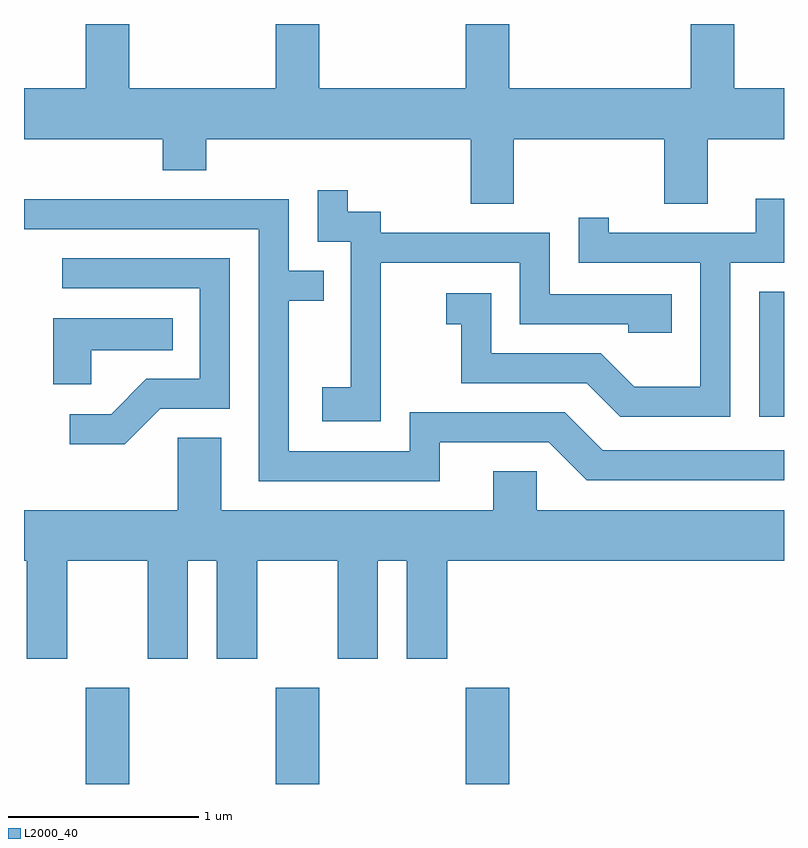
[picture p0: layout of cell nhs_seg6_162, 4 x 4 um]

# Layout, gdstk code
import gdstk
lib = gdstk.Library(unit=1e-6, precision=1e-09)
def R(c, l, rs):  # rectangles x0, y0, x1, y1
    for r in rs: c.add(gdstk.rectangle(r[:2], r[2:], *l))
def A(c, l, x, y, w, h, nx, ny, dx, dy):  # array of equal rectangles
    R(c, l, [(x+i*dx, y+j*dy, x+i*dx+w, y+j*dy+h) for i in range(nx) for j in range(ny)])
def P(c, l, *ps):  # polygons
    for p in ps: c.add(gdstk.Polygon(p, *l))
L2000_40 = (2000, 40)

nhs_seg6_162 = lib.new_cell('nhs_seg6_162')
A(nhs_seg6_162, L2000_40, 189.936, 1582.162, 0.228, 0.507, 3, 1, 1, 0)
R(nhs_seg6_162, L2000_40, [(193.481,1584.096,193.611,1584.754)])
P(nhs_seg6_162, L2000_40, [(192.189,1585.556),(192.981,1585.556),(192.981,1585.216),(193.209,1585.216),(193.209,1585.556),(193.611,1585.556),(193.611,1585.824),(193.349,1585.824),(193.349,1586.162),(193.121,1586.162),(193.121,1585.824),(192.164,1585.824),(192.164,1586.162),(191.936,1586.162),(191.936,1585.824),(191.164,1585.824),(191.164,1586.162),(190.936,1586.162),(190.936,1585.824),(190.164,1585.824),(190.164,1586.162),(189.936,1586.162),(189.936,1585.824),(189.611,1585.824),(189.611,1585.556),(190.341,1585.556),(190.341,1585.391),(190.569,1585.391),(190.569,1585.556),(191.961,1585.556),(191.961,1585.216),(192.189,1585.216)],
  [(191.489,1584.906),(192.221,1584.906),(192.221,1584.581),(192.791,1584.581),(192.791,1584.536),(193.019,1584.536),(193.019,1584.739),(192.379,1584.739),(192.379,1585.064),(191.489,1585.064),(191.489,1585.174),(191.314,1585.174),(191.314,1585.288),(191.156,1585.288),(191.156,1585.016),(191.331,1585.016),(191.331,1584.249),(191.181,1584.249),(191.181,1584.071),(191.489,1584.071)],
  [(193.329,1584.906),(193.611,1584.906),(193.611,1585.243),(193.461,1585.243),(193.461,1585.064),(192.689,1585.064),(192.689,1585.143),(192.531,1585.143),(192.531,1584.906),(193.171,1584.906),(193.171,1584.254),(192.822,1584.254),(192.647,1584.429),(192.069,1584.429),(192.069,1584.744),(191.833,1584.744),(191.833,1584.581),(191.911,1584.581),(191.911,1584.271),(192.574,1584.271),(192.749,1584.096),(193.329,1584.096)],
  [(191.799,1583.961),(192.374,1583.961),(192.574,1583.761),(193.611,1583.761),(193.611,1583.919),(192.657,1583.919),(192.457,1584.119),(191.641,1584.119),(191.641,1583.914),(191.004,1583.914),(191.004,1584.706),(191.188,1584.706),(191.188,1584.864),(191.004,1584.864),(191.004,1585.239),(189.611,1585.239),(189.611,1585.081),(190.846,1585.081),(190.846,1583.756),(191.799,1583.756)],
  [(190.327,1584.136),(190.694,1584.136),(190.694,1584.929),(189.813,1584.929),(189.813,1584.771),(190.536,1584.771),(190.536,1584.294),(190.254,1584.294),(190.069,1584.109),(189.853,1584.109),(189.853,1583.951),(190.142,1583.951)],
  [(189.964,1584.446),(190.393,1584.446),(190.393,1584.614),(189.766,1584.614),(189.766,1584.266),(189.964,1584.266)],
  [(189.839,1583.336),(190.261,1583.336),(190.261,1582.821),(190.474,1582.821),(190.474,1583.336),(190.626,1583.336),(190.626,1582.821),(190.839,1582.821),(190.839,1583.336),(191.261,1583.336),(191.261,1582.821),(191.474,1582.821),(191.474,1583.336),(191.626,1583.336),(191.626,1582.821),(191.839,1582.821),(191.839,1583.336),(193.611,1583.336),(193.611,1583.604),(192.309,1583.604),(192.309,1583.809),(192.081,1583.809),(192.081,1583.604),(190.649,1583.604),(190.649,1583.984),(190.421,1583.984),(190.421,1583.604),(189.611,1583.604),(189.611,1583.336),(189.626,1583.336),(189.626,1582.821),(189.839,1582.821)])

lib.write_gds('nhs_seg6_162.gds')
